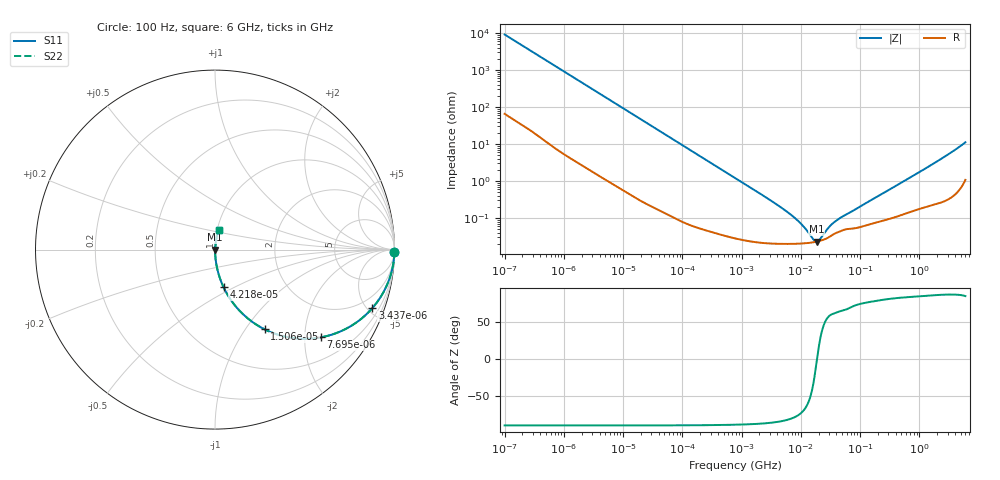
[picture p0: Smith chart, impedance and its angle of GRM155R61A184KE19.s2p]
!Murata Part Number: GRM155R61A184KE19
!These Parameters are Measured in Series Mode Connection
!Data Generated on Mar 30, 2021
!  o--ll--o
!Port1  Port2
!  o------o
!Operation Temp=25[degC], DC Bias Voltage=0[V]
!Freq. Start=100[Hz] Stop=6[GHz] 401[Steps]
# Hz S RI R 50
!Freq.(Hz) S11(Real) S11(Imag) S21(Real) S21(Imag) S12(Real) S12(Imag) S22(Real) S22(Imag)
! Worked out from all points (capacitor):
!   401 points, 100 Hz to 6 GHz, reference 50 ohm
!   read as one part in series: C = 175 nF near 109 Hz
!   lowest |Z| = 23 mohm at 18.61 MHz (marker M1)
!   series resonance near 18.8 MHz, so ESL is about 410 pH
!   S11 on the Smith chart (normalised r, x): 100 Hz: open; 3.437 kHz: 1.03, -5.37; 7.695 kHz: 1.01, -2.40; 15.06 kHz: 1.01, -1.23; 42.18 kHz: 1.00, -0.44; 6 GHz: 1.02, +0.22
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100  0.9998 -0.011  0.0002 0.011  0.0002 0.011  0.9998 -0.011
600  0.9953 -0.0651  0.00465 0.0651  0.00465 0.0651  0.9953 -0.0651
2008  0.9534 -0.2078  0.0466 0.2078  0.0466 0.2078  0.9534 -0.2078
3437  0.8766 -0.326  0.1234 0.326  0.1234 0.326  0.8766 -0.326
5143  0.7619 -0.423  0.2381 0.423  0.2381 0.423  0.7619 -0.423
7695  0.5904 -0.4888  0.4096 0.4888  0.4096 0.4888  0.5904 -0.4888
15062  0.276 -0.444  0.724 0.444  0.724 0.444  0.276 -0.444
23569  0.1359 -0.3395  0.8641 0.3395  0.8641 0.3395  0.1359 -0.3395
40335  0.0519 -0.2183  0.9481 0.2183  0.9481 0.2183  0.0519 -0.2183
42182  0.0478 -0.2097  0.9522 0.2097  0.9522 0.2097  0.0478 -0.2097
135116  0.0054 -0.0688  0.9946 0.0688  0.9946 0.0688  0.0054 -0.0688
774597  0.000429 -0.0121  0.9996 0.0121  0.9996 0.0121  0.000429 -0.0121
6353432  0.000201 -0.00132  0.9998 0.00132  0.9998 0.00132  0.000201 -0.00132
1.039699e7  0.000205 -0.000633  0.9998 0.000633  0.9998 0.000633  0.000205 -0.000633
1.555665e7  0.000219 -0.000192  0.9998 0.000192  0.9998 0.000192  0.000219 -0.000192
1.86079e7  0.00023 -1.01e-05  0.9998 1.01e-05  0.9998 1.01e-05  0.00023 -1.01e-05
2.128304e7  0.000243 0.000125  0.9998 -0.000125  0.9998 -0.000125  0.000243 0.000125
3.045065e7  0.000311 0.000496  0.9997 -0.000496  0.9997 -0.000496  0.000311 0.000496
3.983537e7  0.000398 0.000755  0.9996 -0.000755  0.9996 -0.000755  0.000398 0.000755
3.124326e8  0.000978 0.00575  0.999 -0.00575  0.999 -0.00575  0.000978 0.00575
1.95892e9  0.00347 0.033  0.9965 -0.033  0.9965 -0.033  0.00347 0.033
6e9  0.0224 0.1072  0.9776 -0.1072  0.9776 -0.1072  0.0224 0.1072
